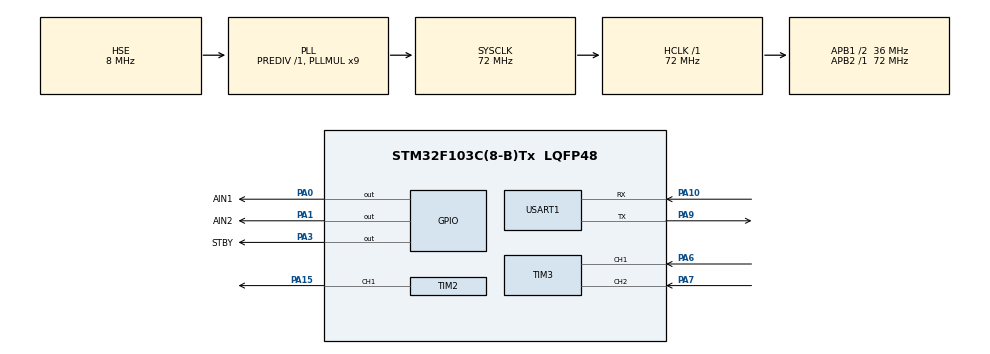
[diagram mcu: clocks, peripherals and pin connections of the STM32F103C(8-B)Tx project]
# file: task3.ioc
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Mcu.Family=STM32F1
Mcu.Name=STM32F103C(8-B)Tx
Mcu.Package=LQFP48
NVIC.PriorityGroup=NVIC_PRIORITYGROUP_4
NVIC.TIM1_UP_IRQn=true\:0\:0\:false\:false\:true\:true\:true\:true
PA0-WKUP.GPIO_Label=AIN1
PA0-WKUP.Signal=GPIO_Output
PA1.GPIO_Label=AIN2
PA1.Signal=GPIO_Output
PA10.Mode=Asynchronous
PA10.Signal=USART1_RX
PA13.Mode=Serial_Wire
PA13.Signal=SYS_JTMS-SWDIO
PA14.Mode=Serial_Wire
PA14.Signal=SYS_JTCK-SWCLK
PA15.Signal=S_TIM2_CH1_ETR
PA3.GPIO_Label=STBY
PA3.Signal=GPIO_Output
PA6.Signal=S_TIM3_CH1
PA7.Signal=S_TIM3_CH2
PA9.Mode=Asynchronous
PA9.Signal=USART1_TX
PC14-OSC32_IN.Mode=LSE-External-Oscillator
PC14-OSC32_IN.Signal=RCC_OSC32_IN
PC15-OSC32_OUT.Mode=LSE-External-Oscillator
PC15-OSC32_OUT.Signal=RCC_OSC32_OUT
PD0-OSC_IN.Mode=HSE-External-Oscillator
PD0-OSC_IN.Signal=RCC_OSC_IN
PD1-OSC_OUT.Mode=HSE-External-Oscillator
PD1-OSC_OUT.Signal=RCC_OSC_OUT
ProjectManager.HeapSize=0x200
ProjectManager.StackSize=0x400
ProjectManager.TargetToolchain=MDK-ARM V5.32
RCC.AHBFreq_Value=72000000
RCC.APB1CLKDivider=RCC_HCLK_DIV2
RCC.APB1Freq_Value=36000000
RCC.APB1TimFreq_Value=72000000
RCC.APB2Freq_Value=72000000
RCC.APB2TimFreq_Value=72000000
RCC.HCLKFreq_Value=72000000
RCC.PLLMUL=RCC_PLL_MUL9
RCC.PLLSourceVirtual=RCC_PLLSOURCE_HSE
RCC.SYSCLKFreq_VALUE=72000000
RCC.SYSCLKSource=RCC_SYSCLKSOURCE_PLLCLK
RCC.USBFreq_Value=72000000
SH.S_TIM2_CH1_ETR.0=TIM2_CH1,PWM Generation1 CH1
SH.S_TIM3_CH1.0=TIM3_CH1,Encoder_Interface
SH.S_TIM3_CH2.0=TIM3_CH2,Encoder_Interface
TIM1.Period=100-1
TIM1.Prescaler=7200-1
TIM2.Channel-PWM\ Generation1\ CH1=TIM_CHANNEL_1
TIM2.Period=1000-1
TIM2.Prescaler=72-1
TIM3.EncoderMode=TIM_ENCODERMODE_TI12
TIM3.IC1Filter=15
TIM3.IC2Filter=15
USART1.VirtualMode=VM_ASYNC
VP_TIM1_VS_ClockSourceINT.Mode=Internal
board=custom

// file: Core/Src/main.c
/* USER CODE BEGIN Header */
/**
  ******************************************************************************
  * @file           : main.c
  * @brief          : Main program body
  ******************************************************************************
  * @attention
  *
  * Copyright (c) 2025 STMicroelectronics.
  * All rights reserved.
  *
  * This software is licensed under terms that can be found in the LICENSE file
  * in the root directory of this software component.
  * If no LICENSE file comes with this software, it is provided AS-IS.
  *
  ******************************************************************************
  */
/* USER CODE END Header */
#include "main.h"
#include "tim.h"
#include "usart.h"
#include "gpio.h"

/* USER CODE BEGIN PV */
volatile float rpm = 0;
volatile uint32_t interrupt_count = 0;     // 中断计数
volatile uint8_t motor_state = 0;  // 0:停止, 1:正转, 2:反转
volatile uint32_t current_count = 0;
volatile uint32_t last_count = 0;          // 上次编码器值
volatile int32_t encoder_diff = 0;         // 编码器差值
#define ENCODER_PPR 13
/* USER CODE END PV */

void SystemClock_Config(void);
/* USER CODE BEGIN PFP */
void Motor_Forward(uint16_t speed);
void Motor_Reverse(uint16_t speed);
void Motor_Stop(void);
void Calculate_RPM(void);
/* USER CODE END PFP */

int main(void)
{

  /* MCU Configuration--------------------------------------------------------*/

  /* Reset of all peripherals, Initializes the Flash interface and the Systick. */
  HAL_Init();

  /* USER CODE BEGIN Init */
  HAL_Init();
  SystemClock_Config();
  /* USER CODE END Init */

  /* Configure the system clock */
  SystemClock_Config();

  /* Initialize all configured peripherals */
  MX_GPIO_Init();
  MX_TIM2_Init();
  MX_TIM3_Init();
  MX_USART1_UART_Init();
  MX_TIM1_Init();
  /* USER CODE BEGIN 2 */
  HAL_TIM_PWM_Start(&htim2, TIM_CHANNEL_1);
  HAL_TIM_Encoder_Start(&htim3, TIM_CHANNEL_ALL);
  HAL_TIM_Base_Start_IT(&htim1);
  HAL_GPIO_WritePin(STBY_GPIO_Port, STBY_Pin, GPIO_PIN_SET);
  Motor_Stop();
  /* USER CODE END 2 */

  /* Infinite loop */
  /* USER CODE BEGIN WHILE */
  while (1)
  {
    Motor_Forward(300);
    HAL_Delay(3000);

    Motor_Stop();
    HAL_Delay(1000);

    Motor_Reverse(600);
    HAL_Delay(3000);

    HAL_GPIO_WritePin(AIN1_GPIO_Port, AIN1_Pin, GPIO_PIN_SET);
    HAL_GPIO_WritePin(AIN2_GPIO_Port, AIN2_Pin, GPIO_PIN_SET);
    HAL_Delay(2000);
    /* USER CODE END WHILE */

  }
}

void SystemClock_Config(void)
{
  RCC_OscInitTypeDef RCC_OscInitStruct = {0};
  RCC_ClkInitTypeDef RCC_ClkInitStruct = {0};

  /** Initializes the RCC Oscillators according to the specified parameters
  * in the RCC_OscInitTypeDef structure.
  */
  RCC_OscInitStruct.OscillatorType = RCC_OSCILLATORTYPE_HSE;
  RCC_OscInitStruct.HSEState = RCC_HSE_ON;
  RCC_OscInitStruct.HSEPredivValue = RCC_HSE_PREDIV_DIV1;
  RCC_OscInitStruct.HSIState = RCC_HSI_ON;
  RCC_OscInitStruct.PLL.PLLState = RCC_PLL_ON;
  RCC_OscInitStruct.PLL.PLLSource = RCC_PLLSOURCE_HSE;
  RCC_OscInitStruct.PLL.PLLMUL = RCC_PLL_MUL9;
  if (HAL_RCC_OscConfig(&RCC_OscInitStruct) != HAL_OK)
  {
    Error_Handler();
  }

  /** Initializes the CPU, AHB and APB buses clocks
  */
  RCC_ClkInitStruct.ClockType = RCC_CLOCKTYPE_HCLK|RCC_CLOCKTYPE_SYSCLK
                              |RCC_CLOCKTYPE_PCLK1|RCC_CLOCKTYPE_PCLK2;
  RCC_ClkInitStruct.SYSCLKSource = RCC_SYSCLKSOURCE_PLLCLK;
  RCC_ClkInitStruct.AHBCLKDivider = RCC_SYSCLK_DIV1;
  RCC_ClkInitStruct.APB1CLKDivider = RCC_HCLK_DIV2;
  RCC_ClkInitStruct.APB2CLKDivider = RCC_HCLK_DIV1;

  if (HAL_RCC_ClockConfig(&RCC_ClkInitStruct, FLASH_LATENCY_2) != HAL_OK)
  {
    Error_Handler();
  }
}

/* USER CODE BEGIN 4 */
// 定时器中duan
void HAL_TIM_PeriodElapsedCallback(TIM_HandleTypeDef *htim)
{
    if(htim->Instance == TIM1)
    {
        interrupt_count++;
        Calculate_RPM();
    }
}

void Calculate_RPM(void)
{
    static uint32_t last_count = 0;
    uint32_t current_count = __HAL_TIM_GET_COUNTER(&htim3);

    int32_t diff = (int32_t)current_count - (int32_t)last_count;

    if(diff > 32767) diff -= 65536;
    else if(diff < -32767) diff += 65536;

    rpm = (diff / (float)ENCODER_PPR) * 6000.0f;

    last_count = current_count;
}

// 电机正转
void Motor_Forward(uint16_t speed)
{
    HAL_GPIO_WritePin(AIN1_GPIO_Port, AIN1_Pin, GPIO_PIN_SET);
    HAL_GPIO_WritePin(AIN2_GPIO_Port, AIN2_Pin, GPIO_PIN_RESET);
    __HAL_TIM_SET_COMPARE(&htim2, TIM_CHANNEL_1, speed);
    motor_state = 1;
}

// 电机反转
void Motor_Reverse(uint16_t speed)
{
    HAL_GPIO_WritePin(AIN1_GPIO_Port, AIN1_Pin, GPIO_PIN_RESET);
    HAL_GPIO_WritePin(AIN2_GPIO_Port, AIN2_Pin, GPIO_PIN_SET);
    __HAL_TIM_SET_COMPARE(&htim2, TIM_CHANNEL_1, speed);
    motor_state = 2;
}

// 电机停止
void Motor_Stop(void)
{
    HAL_GPIO_WritePin(AIN1_GPIO_Port, AIN1_Pin, GPIO_PIN_RESET);
    HAL_GPIO_WritePin(AIN2_GPIO_Port, AIN2_Pin, GPIO_PIN_RESET);
    __HAL_TIM_SET_COMPARE(&htim2, TIM_CHANNEL_1, 0);
    motor_state = 0;
}
/* USER CODE END 4 */

void Error_Handler(void)
{
  __disable_irq();
  while (1)
  {
  }
}
